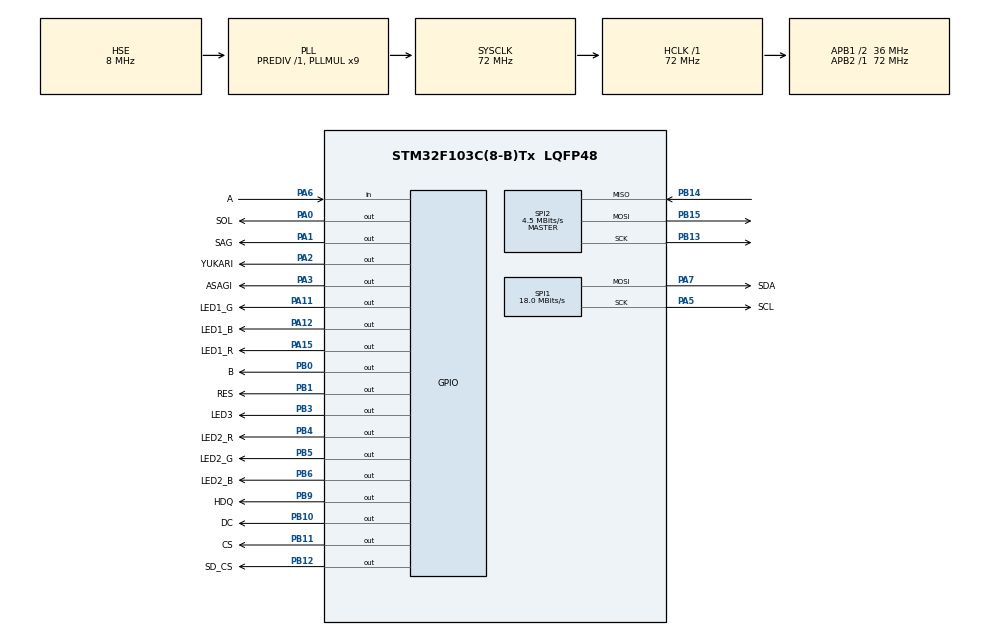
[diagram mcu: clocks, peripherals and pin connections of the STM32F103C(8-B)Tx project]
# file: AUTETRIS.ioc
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FATFS._MAX_SS=4096
FATFS._USE_LFN=1
Mcu.Family=STM32F1
Mcu.Name=STM32F103C(8-B)Tx
Mcu.Package=LQFP48
NVIC.PriorityGroup=NVIC_PRIORITYGROUP_4
PA0-WKUP.GPIO_Label=SOL
PA0-WKUP.Signal=GPIO_Output
PA1.GPIO_Label=SAG
PA1.Signal=GPIO_Output
PA11.GPIO_Label=LED1_G
PA11.PinState=GPIO_PIN_SET
PA11.Signal=GPIO_Output
PA12.GPIO_Label=LED1_B
PA12.PinState=GPIO_PIN_SET
PA12.Signal=GPIO_Output
PA13.Mode=Serial_Wire
PA13.Signal=SYS_JTMS-SWDIO
PA14.Mode=Serial_Wire
PA14.Signal=SYS_JTCK-SWCLK
PA15.GPIO_Label=LED1_R
PA15.PinState=GPIO_PIN_SET
PA15.Signal=GPIO_Output
PA2.GPIO_Label=YUKARI
PA2.Signal=GPIO_Output
PA3.GPIO_Label=ASAGI
PA3.Signal=GPIO_Output
PA5.GPIO_Label=SCL
PA5.Mode=TX_Only_Simplex_Unidirect_Master
PA5.Signal=SPI1_SCK
PA6.GPIO_Label=A
PA6.Signal=GPIO_Input
PA7.GPIO_Label=SDA
PA7.Mode=TX_Only_Simplex_Unidirect_Master
PA7.Signal=SPI1_MOSI
PB0.GPIO_Label=B
PB0.Signal=GPIO_Output
PB1.GPIO_Label=RES
PB1.Signal=GPIO_Output
PB10.GPIO_Label=DC
PB10.Signal=GPIO_Output
PB11.GPIO_Label=CS
PB11.Signal=GPIO_Output
PB12.GPIO_Label=SD_CS
PB12.Signal=GPIO_Output
PB13.Mode=Full_Duplex_Master
PB13.Signal=SPI2_SCK
PB14.Mode=Full_Duplex_Master
PB14.Signal=SPI2_MISO
PB15.Mode=Full_Duplex_Master
PB15.Signal=SPI2_MOSI
PB3.GPIO_Label=LED3
PB3.Signal=GPIO_Output
PB4.GPIO_Label=LED2_R
PB4.PinState=GPIO_PIN_SET
PB4.Signal=GPIO_Output
PB5.GPIO_Label=LED2_G
PB5.PinState=GPIO_PIN_SET
PB5.Signal=GPIO_Output
PB6.GPIO_Label=LED2_B
PB6.PinState=GPIO_PIN_SET
PB6.Signal=GPIO_Output
PB9.GPIO_Label=HDQ
PB9.Signal=GPIO_Output
PC14-OSC32_IN.Mode=LSE-External-Oscillator
PC14-OSC32_IN.Signal=RCC_OSC32_IN
PC15-OSC32_OUT.Mode=LSE-External-Oscillator
PC15-OSC32_OUT.Signal=RCC_OSC32_OUT
PD0-OSC_IN.Mode=HSE-External-Oscillator
PD0-OSC_IN.Signal=RCC_OSC_IN
PD1-OSC_OUT.Mode=HSE-External-Oscillator
PD1-OSC_OUT.Signal=RCC_OSC_OUT
ProjectManager.HeapSize=0x200
ProjectManager.StackSize=0x400
ProjectManager.TargetToolchain=MDK-ARM V5.32
RCC.AHBFreq_Value=72000000
RCC.APB1CLKDivider=RCC_HCLK_DIV2
RCC.APB1Freq_Value=36000000
RCC.APB1TimFreq_Value=72000000
RCC.APB2Freq_Value=72000000
RCC.APB2TimFreq_Value=72000000
RCC.HCLKFreq_Value=72000000
RCC.PLLMUL=RCC_PLL_MUL9
RCC.PLLSourceVirtual=RCC_PLLSOURCE_HSE
RCC.SYSCLKFreq_VALUE=72000000
RCC.SYSCLKSource=RCC_SYSCLKSOURCE_PLLCLK
RCC.USBFreq_Value=72000000
RTC.Date=7
RTC.Format=RTC_FORMAT_BCD
RTC.Hours=0
RTC.Minutes=29
RTC.OutPut=RTC_OUTPUTSOURCE_CALIBCLOCK
RTC.WeekDay=RTC_WEEKDAY_SATURDAY
RTC.Year=22
SPI1.BaudRatePrescaler=SPI_BAUDRATEPRESCALER_4
SPI1.CalculateBaudRate=18.0 MBits/s
SPI1.Direction=SPI_DIRECTION_2LINES
SPI1.Mode=SPI_MODE_MASTER
SPI1.VirtualType=VM_MASTER
SPI2.BaudRatePrescaler=SPI_BAUDRATEPRESCALER_8
SPI2.CalculateBaudRate=4.5 MBits/s
SPI2.Direction=SPI_DIRECTION_2LINES
SPI2.Mode=SPI_MODE_MASTER
SPI2.VirtualType=VM_MASTER
TIM1.Period=65535-1
TIM1.Prescaler=36-1
VP_FATFS_VS_Generic.Mode=User_defined
VP_RTC_VS_RTC_Activate.Mode=RTC_Enabled
VP_RTC_VS_RTC_Calendar.Mode=RTC_Calendar
VP_TIM1_VS_ClockSourceINT.Mode=Internal
board=custom

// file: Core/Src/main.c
/* USER CODE BEGIN Header */
/**
  ******************************************************************************
  * @file           : main.c
  * @brief          : Main program body
  ******************************************************************************
  * @attention
  *
  * <h2><center>&copy; Copyright (c) 2021 STMicroelectronics.
  * All rights reserved.</center></h2>
  *
  * This software component is licensed by ST under BSD 3-Clause license,
  * the "License"; You may not use this file except in compliance with the
  * License. You may obtain a copy of the License at:
  *                        opensource.org/licenses/BSD-3-Clause
  *
  ******************************************************************************
  */
/* USER CODE END Header */
#include "main.h"
#include "fatfs.h"

/* USER CODE BEGIN Includes */
#include "fonts.h"
#include "st7735.h"
#include "img.h"
#include "fonksiyonlar.h"
#include "stdio.h"
#include "HDQ.h"
#include "fatfs_sd.h"
#include <stdlib.h>
#include <time.h>
/* USER CODE END Includes */

RTC_HandleTypeDef hrtc;

SPI_HandleTypeDef hspi1;
SPI_HandleTypeDef hspi2;

TIM_HandleTypeDef htim1;

/* USER CODE BEGIN PV */
uint8_t dizi[11][21];
uint16_t randomsayi=0;
uint16_t skor=0;
uint8_t basla=0;
char yazi[4];
char date[10];
char saat[8];
char yuzde[3];
char gecici[4];
RTC_DateTypeDef gDate;
RTC_TimeTypeDef gTime;
uint8_t LSB,MSB;
uint16_t SOC=0;
/*fatfs*/
FATFS fs;
FATFS *pfs;
FIL fil;
FRESULT fres;
DWORD fre_clust;
uint32_t tot, fre;
char buffer[100];
/* USER CODE END PV */

void SystemClock_Config(void);
static void MX_GPIO_Init(void);
static void MX_SPI1_Init(void);
static void MX_RTC_Init(void);
static void MX_SPI2_Init(void);
static void MX_TIM1_Init(void);

/* USER CODE BEGIN 0 */

void RTCOku(void)
{

 HAL_RTC_GetTime(&hrtc, &gTime, RTC_FORMAT_BIN);
 HAL_RTC_GetDate(&hrtc, &gDate, RTC_FORMAT_BIN);
 sprintf((char*)saat,"%02d:%02d",gTime.Hours, gTime.Minutes);
 sprintf((char*)date,"%02d-%02d-%2d",gDate.Date, gDate.Month, 2000 + gDate.Year);
 randomsayi = gTime.Seconds;
}
/* USER CODE END 0 */

int main(void)
{

  /* MCU Configuration--------------------------------------------------------*/

  /* Reset of all peripherals, Initializes the Flash interface and the Systick. */
  HAL_Init();

  /* Configure the system clock */
  SystemClock_Config();

  /* Initialize all configured peripherals */
  MX_GPIO_Init();
  MX_SPI1_Init();
  MX_RTC_Init();
  MX_SPI2_Init();
  MX_FATFS_Init();
  MX_TIM1_Init();
  /* USER CODE BEGIN 2 */
	HAL_GPIO_WritePin(GPIOC,GPIO_PIN_13,GPIO_PIN_SET);

			DWT_Delay_Init();
	ST7735_Init();
	ST7735_FillScreen(ST7735_WHITE);
uint8_t  i=0;

ST7735_DrawImage(30,52,66,38, logo1);
    ledDemo();
HAL_GPIO_WritePin(LED2_R_GPIO_Port,LED2_R_Pin,GPIO_PIN_RESET);
HAL_GPIO_WritePin(LED1_B_GPIO_Port,LED1_B_Pin,GPIO_PIN_RESET);
		ST7735_FillScreen(ST7735_MAGENTA);

			RTC_DateTypeDef gDate;
 RTC_TimeTypeDef gTime;

  /* USER CODE END 2 */

  /* Infinite loop */
   while (1)
  {

    /* USER CODE BEGIN 3 */
		while(basla == 0){
			basla = baslangicekrani();
		}
		uint8_t delay;
		switch (basla)
{
    case 1:
			delay=150; //kolay
      break;
		case 2:
			delay=100; //orta
      break;
		case 3:
			delay=50; //zor
      break;
    default:
 }
	RTCOku();
    LSB = HDQ_read(0x2c);
    MSB = HDQ_read(0x2d);
    SOC = ( MSB << 8 ) + LSB;
		if(0<SOC && SOC<=100){
		sprintf(yuzde,"%%%d",SOC);
		}
	ST7735_DrawString(92, 150,(const char*)saat,Font_7x10 ,ST7735_BLUE,ST7735_MAGENTA);

		randomsayi=randomsayi%3;
		ST7735_DrawString(98, 140,yuzde,Font_7x10 ,ST7735_BLUE,ST7735_MAGENTA);

		sprintf(yazi,"%d",skor);
	ST7735_DrawString(95, 5,"SKOR",Font_7x10 ,ST7735_BLACK,ST7735_MAGENTA);
	if(skor==0){
	ST7735_DrawString(105, 16,(const char*)yazi, Font_11x18,ST7735_BLUE,ST7735_MAGENTA);
	}
	else{
		ST7735_DrawString(98, 16,(const char*)yazi, Font_11x18,ST7735_BLUE,ST7735_MAGENTA);
	}
		if(randomsayi == 0){
		skor = kare(dizi,skor,delay);
		}
		if(randomsayi ==1){
		skor = cubuk(dizi,skor,delay);
		}
		if(randomsayi ==2){
		skor = cubukdik(dizi,skor,delay);
		}

}

  /* USER CODE END 3 */
}

void SystemClock_Config(void)
{
  RCC_OscInitTypeDef RCC_OscInitStruct = {0};
  RCC_ClkInitTypeDef RCC_ClkInitStruct = {0};
  RCC_PeriphCLKInitTypeDef PeriphClkInit = {0};

  /** Initializes the RCC Oscillators according to the specified parameters
  * in the RCC_OscInitTypeDef structure.
  */
  RCC_OscInitStruct.OscillatorType = RCC_OSCILLATORTYPE_LSI|RCC_OSCILLATORTYPE_HSE;
  RCC_OscInitStruct.HSEState = RCC_HSE_ON;
  RCC_OscInitStruct.HSEPredivValue = RCC_HSE_PREDIV_DIV1;
  RCC_OscInitStruct.HSIState = RCC_HSI_ON;
  RCC_OscInitStruct.LSIState = RCC_LSI_ON;
  RCC_OscInitStruct.PLL.PLLState = RCC_PLL_ON;
  RCC_OscInitStruct.PLL.PLLSource = RCC_PLLSOURCE_HSE;
  RCC_OscInitStruct.PLL.PLLMUL = RCC_PLL_MUL9;
  if (HAL_RCC_OscConfig(&RCC_OscInitStruct) != HAL_OK)
  {
    Error_Handler();
  }
  /** Initializes the CPU, AHB and APB buses clocks
  */
  RCC_ClkInitStruct.ClockType = RCC_CLOCKTYPE_HCLK|RCC_CLOCKTYPE_SYSCLK
                              |RCC_CLOCKTYPE_PCLK1|RCC_CLOCKTYPE_PCLK2;
  RCC_ClkInitStruct.SYSCLKSource = RCC_SYSCLKSOURCE_PLLCLK;
  RCC_ClkInitStruct.AHBCLKDivider = RCC_SYSCLK_DIV1;
  RCC_ClkInitStruct.APB1CLKDivider = RCC_HCLK_DIV2;
  RCC_ClkInitStruct.APB2CLKDivider = RCC_HCLK_DIV1;

  if (HAL_RCC_ClockConfig(&RCC_ClkInitStruct, FLASH_LATENCY_2) != HAL_OK)
  {
    Error_Handler();
  }
  PeriphClkInit.PeriphClockSelection = RCC_PERIPHCLK_RTC;
  PeriphClkInit.RTCClockSelection = RCC_RTCCLKSOURCE_LSI;
  if (HAL_RCCEx_PeriphCLKConfig(&PeriphClkInit) != HAL_OK)
  {
    Error_Handler();
  }
}

static void MX_RTC_Init(void)
{

  RTC_TimeTypeDef sTime = {0};
  RTC_DateTypeDef DateToUpdate = {0};

  /** Initialize RTC Only
  */
  hrtc.Instance = RTC;
  hrtc.Init.AsynchPrediv = RTC_AUTO_1_SECOND;
  hrtc.Init.OutPut = RTC_OUTPUTSOURCE_CALIBCLOCK;
  if (HAL_RTC_Init(&hrtc) != HAL_OK)
  {
    Error_Handler();
  }

  /** Initialize RTC and set the Time and Date
  */
  sTime.Hours = 0x0;
  sTime.Minutes = 0x29;
  sTime.Seconds = 0x0;

  if (HAL_RTC_SetTime(&hrtc, &sTime, RTC_FORMAT_BCD) != HAL_OK)
  {
    Error_Handler();
  }
  DateToUpdate.WeekDay = RTC_WEEKDAY_SATURDAY;
  DateToUpdate.Month = RTC_MONTH_JANUARY;
  DateToUpdate.Date = 0x7;
  DateToUpdate.Year = 0x22;

  if (HAL_RTC_SetDate(&hrtc, &DateToUpdate, RTC_FORMAT_BCD) != HAL_OK)
  {
    Error_Handler();
  }

}

static void MX_SPI1_Init(void)
{

  /* SPI1 parameter configuration*/
  hspi1.Instance = SPI1;
  hspi1.Init.Mode = SPI_MODE_MASTER;
  hspi1.Init.Direction = SPI_DIRECTION_2LINES;
  hspi1.Init.DataSize = SPI_DATASIZE_8BIT;
  hspi1.Init.CLKPolarity = SPI_POLARITY_LOW;
  hspi1.Init.CLKPhase = SPI_PHASE_1EDGE;
  hspi1.Init.NSS = SPI_NSS_SOFT;
  hspi1.Init.BaudRatePrescaler = SPI_BAUDRATEPRESCALER_4;
  hspi1.Init.FirstBit = SPI_FIRSTBIT_MSB;
  hspi1.Init.TIMode = SPI_TIMODE_DISABLE;
  hspi1.Init.CRCCalculation = SPI_CRCCALCULATION_DISABLE;
  hspi1.Init.CRCPolynomial = 10;
  if (HAL_SPI_Init(&hspi1) != HAL_OK)
  {
    Error_Handler();
  }

}

static void MX_SPI2_Init(void)
{

  /* SPI2 parameter configuration*/
  hspi2.Instance = SPI2;
  hspi2.Init.Mode = SPI_MODE_MASTER;
  hspi2.Init.Direction = SPI_DIRECTION_2LINES;
  hspi2.Init.DataSize = SPI_DATASIZE_8BIT;
  hspi2.Init.CLKPolarity = SPI_POLARITY_LOW;
  hspi2.Init.CLKPhase = SPI_PHASE_1EDGE;
  hspi2.Init.NSS = SPI_NSS_SOFT;
  hspi2.Init.BaudRatePrescaler = SPI_BAUDRATEPRESCALER_8;
  hspi2.Init.FirstBit = SPI_FIRSTBIT_MSB;
  hspi2.Init.TIMode = SPI_TIMODE_DISABLE;
  hspi2.Init.CRCCalculation = SPI_CRCCALCULATION_DISABLE;
  hspi2.Init.CRCPolynomial = 10;
  if (HAL_SPI_Init(&hspi2) != HAL_OK)
  {
    Error_Handler();
  }

}

static void MX_TIM1_Init(void)
{

  TIM_ClockConfigTypeDef sClockSourceConfig = {0};
  TIM_MasterConfigTypeDef sMasterConfig = {0};

  htim1.Instance = TIM1;
  htim1.Init.Prescaler = 36-1;
  htim1.Init.CounterMode = TIM_COUNTERMODE_UP;
  htim1.Init.Period = 65535-1;
  htim1.Init.ClockDivision = TIM_CLOCKDIVISION_DIV1;
  htim1.Init.RepetitionCounter = 0;
  htim1.Init.AutoReloadPreload = TIM_AUTORELOAD_PRELOAD_DISABLE;
  if (HAL_TIM_Base_Init(&htim1) != HAL_OK)
  {
    Error_Handler();
  }
  sClockSourceConfig.ClockSource = TIM_CLOCKSOURCE_INTERNAL;
  if (HAL_TIM_ConfigClockSource(&htim1, &sClockSourceConfig) != HAL_OK)
  {
    Error_Handler();
  }
  sMasterConfig.MasterOutputTrigger = TIM_TRGO_RESET;
  sMasterConfig.MasterSlaveMode = TIM_MASTERSLAVEMODE_DISABLE;
  if (HAL_TIMEx_MasterConfigSynchronization(&htim1, &sMasterConfig) != HAL_OK)
  {
    Error_Handler();
  }

}

static void MX_GPIO_Init(void)
{
  GPIO_InitTypeDef GPIO_InitStruct = {0};

  /* GPIO Ports Clock Enable */
  __HAL_RCC_GPIOC_CLK_ENABLE();
  __HAL_RCC_GPIOD_CLK_ENABLE();
  __HAL_RCC_GPIOA_CLK_ENABLE();
  __HAL_RCC_GPIOB_CLK_ENABLE();

  /*Configure GPIO pin Output Level */
  HAL_GPIO_WritePin(GPIOA, SOL_Pin|SAG_Pin|YUKARI_Pin|ASAGI_Pin, GPIO_PIN_RESET);

  /*Configure GPIO pin Output Level */
  HAL_GPIO_WritePin(GPIOB, B_Pin|RES_Pin|DC_Pin|CS_Pin
                          |SD_CS_Pin|LED3_Pin|HDQ_Pin, GPIO_PIN_RESET);

  /*Configure GPIO pin Output Level */
  HAL_GPIO_WritePin(GPIOA, LED1_G_Pin|LED1_B_Pin|LED1_R_Pin, GPIO_PIN_SET);

  /*Configure GPIO pin Output Level */
  HAL_GPIO_WritePin(GPIOB, LED2_R_Pin|LED2_G_Pin|LED2_B_Pin, GPIO_PIN_SET);

  /*Configure GPIO pins : SOL_Pin SAG_Pin YUKARI_Pin ASAGI_Pin
                           LED1_G_Pin LED1_B_Pin LED1_R_Pin */
  GPIO_InitStruct.Pin = SOL_Pin|SAG_Pin|YUKARI_Pin|ASAGI_Pin
                          |LED1_G_Pin|LED1_B_Pin|LED1_R_Pin;
  GPIO_InitStruct.Mode = GPIO_MODE_OUTPUT_PP;
  GPIO_InitStruct.Pull = GPIO_NOPULL;
  GPIO_InitStruct.Speed = GPIO_SPEED_FREQ_LOW;
  HAL_GPIO_Init(GPIOA, &GPIO_InitStruct);

  /*Configure GPIO pin : A_Pin */
  GPIO_InitStruct.Pin = A_Pin;
  GPIO_InitStruct.Mode = GPIO_MODE_INPUT;
  GPIO_InitStruct.Pull = GPIO_NOPULL;
  HAL_GPIO_Init(A_GPIO_Port, &GPIO_InitStruct);

  /*Configure GPIO pins : B_Pin RES_Pin DC_Pin CS_Pin
                           SD_CS_Pin LED3_Pin LED2_R_Pin LED2_G_Pin
                           LED2_B_Pin HDQ_Pin */
  GPIO_InitStruct.Pin = B_Pin|RES_Pin|DC_Pin|CS_Pin
                          |SD_CS_Pin|LED3_Pin|LED2_R_Pin|LED2_G_Pin
                          |LED2_B_Pin|HDQ_Pin;
  GPIO_InitStruct.Mode = GPIO_MODE_OUTPUT_PP;
  GPIO_InitStruct.Pull = GPIO_NOPULL;
  GPIO_InitStruct.Speed = GPIO_SPEED_FREQ_LOW;
  HAL_GPIO_Init(GPIOB, &GPIO_InitStruct);

}

void Error_Handler(void)
{
  __disable_irq();
  while (1)
  {
  }
}
